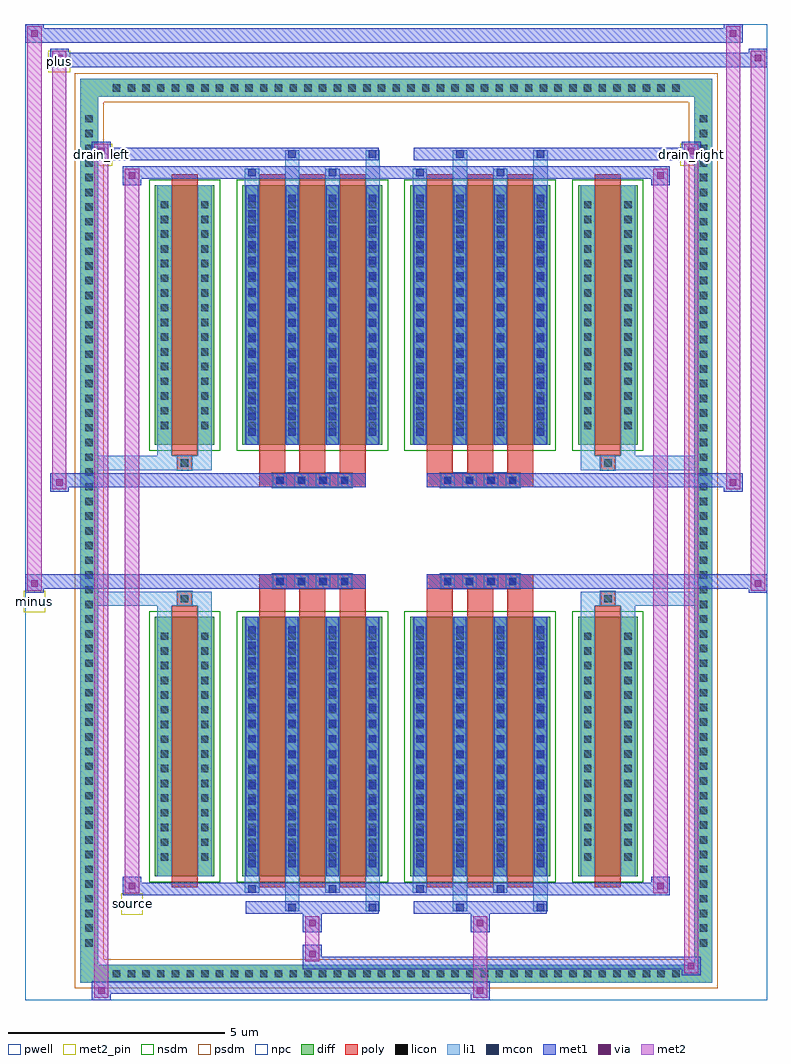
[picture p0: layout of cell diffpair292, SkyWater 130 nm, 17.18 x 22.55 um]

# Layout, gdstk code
import gdstk
lib = gdstk.Library(unit=1e-6, precision=5e-09)
def R(c, l, rs):  # rectangles x0, y0, x1, y1
    for r in rs: c.add(gdstk.rectangle(r[:2], r[2:], *l))
def A(c, l, x, y, w, h, nx, ny, dx, dy):  # array of equal rectangles
    R(c, l, [(x+i*dx, y+j*dy, x+i*dx+w, y+j*dy+h) for i in range(nx) for j in range(ny)])
def P(c, l, *ps):  # polygons
    for p in ps: c.add(gdstk.Polygon(p, *l))
pwell = (64, 44)
diff = (65, 20)
poly = (66, 20)
licon = (66, 44)
li1 = (67, 20)
mcon = (67, 44)
met1 = (68, 20)
via = (68, 44)
met2_pin = (69, 16)
met2 = (69, 20)
nsdm = (93, 44)
psdm = (94, 20)
npc = (95, 20)

diffpair292 = lib.new_cell('diffpair292')
R(diffpair292, pwell, [(-8.57,-10.84,8.57,11.71), (-5.89,-9.03,-0.01,-0.805), (0.01,-9.03,5.89,-0.805), (-5.89,0.805,-0.01,9.03), (0.01,0.805,5.89,9.03)])
A(diffpair292, diff, -6.665, -10.44, 0.41, 0.41, 39, 2, 0.34, 20.47)
A(diffpair292, diff, -7.3, -9.725, 0.41, 0.41, 1, 57, 0, 0.34)
A(diffpair292, diff, 6.89, -9.725, 0.41, 0.41, 1, 57, 0, 0.34)
R(diffpair292, diff, [(-6.665,-10.44,6.665,-10.03), (-7.3,-9.725,-6.89,9.725), (6.89,-9.725,7.3,9.725), (-5.58,-7.985,-4.2,-1.985), (-3.56,-7.985,-0.32,-1.985), (0.32,-7.985,3.56,-1.985), (4.2,-7.985,5.58,-1.985), (-5.58,1.985,-4.2,7.985), (-3.56,1.985,-0.32,7.985), (0.32,1.985,3.56,7.985), (4.2,1.985,5.58,7.985), (-6.665,10.03,6.665,10.44)])
P(diffpair292, diff, [(7.3,10.44),(-7.3,10.44),(-7.3,-10.03),(-6.89,-10.03),(-6.89,10.03),(6.89,10.03),(6.89,-10.03),(-6.89,-10.03),(-7.3,-10.03),(-7.3,-10.44),(7.3,-10.44)])
A(diffpair292, poly, -3.17, -8.235, 0.6, 6.5, 3, 2, 0.93, 9.97)
A(diffpair292, poly, 0.71, -8.235, 0.6, 6.5, 3, 2, 0.93, 9.97)
A(diffpair292, poly, -3.17, -1.735, 0.6, 0.4, 3, 2, 0.93, 3.07)
A(diffpair292, poly, 0.71, -1.735, 0.6, 0.4, 3, 2, 0.93, 3.07)
A(diffpair292, poly, -2.855, -1.335, 0.33, 0.33, 4, 2, 0.5, 2.34)
A(diffpair292, poly, 1.025, -1.335, 0.33, 0.33, 4, 2, 0.5, 2.34)
R(diffpair292, poly, [(-5.19,-8.235,-4.59,-1.735), (4.59,-8.235,5.19,-1.735), (-5.055,-1.735,-4.725,-1.405), (-5.055,-1.735,-4.725,-1.405), (4.725,-1.735,5.055,-1.405), (4.725,-1.735,5.055,-1.405), (-3.17,-1.335,-0.71,-1.005), (0.71,-1.335,3.17,-1.005), (-3.17,1.005,-0.71,1.335), (0.71,1.005,3.17,1.335), (-5.055,1.405,-4.725,1.735), (-5.055,1.405,-4.725,1.735), (4.725,1.405,5.055,1.735), (4.725,1.405,5.055,1.735), (-5.19,1.735,-4.59,8.235), (4.59,1.735,5.19,8.235)])
A(diffpair292, licon, -6.545, -10.32, 0.17, 0.17, 39, 2, 0.34, 20.47)
A(diffpair292, licon, -7.18, -9.605, 0.17, 0.17, 1, 57, 0, 0.34)
A(diffpair292, licon, 7.01, -9.605, 0.17, 0.17, 1, 57, 0, 0.34)
A(diffpair292, licon, -5.44, -7.62, 0.17, 0.17, 1, 16, 0, 0.34)
A(diffpair292, licon, -4.51, -7.62, 0.17, 0.17, 1, 16, 0, 0.34)
A(diffpair292, licon, -3.42, -7.62, 0.17, 0.17, 4, 16, 0.93, 0.34)
A(diffpair292, licon, 0.46, -7.62, 0.17, 0.17, 4, 16, 0.93, 0.34)
A(diffpair292, licon, 4.34, -7.62, 0.17, 0.17, 1, 16, 0, 0.34)
A(diffpair292, licon, 5.27, -7.62, 0.17, 0.17, 1, 16, 0, 0.34)
A(diffpair292, licon, -2.775, -1.255, 0.17, 0.17, 4, 2, 0.5, 2.34)
A(diffpair292, licon, 1.105, -1.255, 0.17, 0.17, 4, 2, 0.5, 2.34)
A(diffpair292, licon, -5.44, 2.35, 0.17, 0.17, 1, 16, 0, 0.34)
A(diffpair292, licon, -4.51, 2.35, 0.17, 0.17, 1, 16, 0, 0.34)
A(diffpair292, licon, -3.42, 2.35, 0.17, 0.17, 4, 16, 0.93, 0.34)
A(diffpair292, licon, 0.46, 2.35, 0.17, 0.17, 4, 16, 0.93, 0.34)
A(diffpair292, licon, 4.34, 2.35, 0.17, 0.17, 1, 16, 0, 0.34)
A(diffpair292, licon, 5.27, 2.35, 0.17, 0.17, 1, 16, 0, 0.34)
R(diffpair292, licon, [(-4.975,-1.655,-4.805,-1.485), (4.805,-1.655,4.975,-1.485), (-4.975,1.485,-4.805,1.655), (4.805,1.485,4.975,1.655)])
A(diffpair292, li1, -6.625, -10.4, 0.33, 0.33, 39, 2, 0.34, 20.47)
A(diffpair292, li1, -7.26, -9.685, 0.33, 0.33, 1, 57, 0, 0.34)
A(diffpair292, li1, 6.93, -9.685, 0.33, 0.33, 1, 57, 0, 0.34)
A(diffpair292, li1, -3.5, -7.985, 0.33, 6, 4, 2, 0.93, 9.97)
A(diffpair292, li1, 0.38, -7.985, 0.33, 6, 4, 2, 0.93, 9.97)
A(diffpair292, li1, -3.42, -7.77, 0.17, 0.17, 4, 16, 0.93, 0.36)
A(diffpair292, li1, -3.42, -7.77, 0.17, 5.57, 4, 2, 0.93, 9.97)
A(diffpair292, li1, 0.46, -7.77, 0.17, 0.17, 4, 16, 0.93, 0.36)
A(diffpair292, li1, 0.46, -7.77, 0.17, 5.57, 4, 2, 0.93, 9.97)
A(diffpair292, li1, -5.52, -7.7, 0.33, 0.33, 1, 16, 0, 0.34)
A(diffpair292, li1, -4.59, -7.7, 0.33, 0.33, 1, 16, 0, 0.34)
A(diffpair292, li1, -3.5, -7.7, 0.33, 0.33, 4, 16, 0.93, 0.34)
A(diffpair292, li1, 0.38, -7.7, 0.33, 0.33, 4, 16, 0.93, 0.34)
A(diffpair292, li1, 4.26, -7.7, 0.33, 0.33, 1, 16, 0, 0.34)
A(diffpair292, li1, 5.19, -7.7, 0.33, 0.33, 1, 16, 0, 0.34)
A(diffpair292, li1, -2.855, -1.335, 0.33, 0.33, 4, 2, 0.5, 2.34)
A(diffpair292, li1, 1.025, -1.335, 0.33, 0.33, 4, 2, 0.5, 2.34)
A(diffpair292, li1, -3.42, 2.2, 0.17, 0.17, 4, 16, 0.93, 0.36)
A(diffpair292, li1, 0.46, 2.2, 0.17, 0.17, 4, 16, 0.93, 0.36)
A(diffpair292, li1, -5.52, 2.27, 0.33, 0.33, 1, 16, 0, 0.34)
A(diffpair292, li1, -4.59, 2.27, 0.33, 0.33, 1, 16, 0, 0.34)
A(diffpair292, li1, -3.5, 2.27, 0.33, 0.33, 4, 16, 0.93, 0.34)
A(diffpair292, li1, 0.38, 2.27, 0.33, 0.33, 4, 16, 0.93, 0.34)
A(diffpair292, li1, 4.26, 2.27, 0.33, 0.33, 1, 16, 0, 0.34)
A(diffpair292, li1, 5.19, 2.27, 0.33, 0.33, 1, 16, 0, 0.34)
R(diffpair292, li1, [(-7.3,-10.44,-6.89,-10.03), (-7.3,-10.44,-6.89,-10.03), (-6.89,-10.44,6.89,-10.03), (6.89,-10.44,7.3,-10.03), (6.89,-10.44,7.3,-10.03), (-7.3,-10.03,-6.89,10.03), (6.89,-10.03,7.3,10.03), (-2.57,-8.79,-2.24,-7.985), (-2.49,-8.79,-2.32,-8.62), (-0.71,-8.79,-0.38,-7.985), (-0.63,-8.79,-0.46,-8.62), (1.31,-8.79,1.64,-7.985), (1.39,-8.79,1.56,-8.62), (3.17,-8.79,3.5,-7.985), (3.25,-8.79,3.42,-8.62), (-3.5,-8.36,-3.17,-7.985), (-3.42,-8.36,-3.25,-8.19), (-1.64,-8.36,-1.31,-7.985), (-1.56,-8.36,-1.39,-8.19), (0.38,-8.36,0.71,-7.985), (0.46,-8.36,0.63,-8.19), (2.24,-8.36,2.57,-7.985), (2.32,-8.36,2.49,-8.19), (-5.52,-7.985,-5.19,-1.985), (-4.59,-7.985,-4.26,-1.985), (4.26,-7.985,4.59,-1.985), (5.19,-7.985,5.52,-1.985), (-5.52,-1.985,-5.19,-1.405), (-4.59,-1.985,-4.26,-1.405), (4.26,-1.985,4.59,-1.405), (5.19,-1.985,5.52,-1.405), (-7.3,-1.735,-5.055,-1.405), (-5.52,-1.735,-5.055,-1.405), (-5.055,-1.735,-4.725,-1.405), (-4.725,-1.735,-4.26,-1.405), (4.26,-1.735,4.725,-1.405), (4.725,-1.735,5.055,-1.405), (4.725,-1.735,7.3,-1.405), (5.055,-1.735,5.52,-1.405), (-7.3,1.405,-5.055,1.735), (-5.52,1.405,-5.055,1.735), (-5.52,1.405,-5.19,1.985), (-5.055,1.405,-4.725,1.735), (-4.725,1.405,-4.26,1.735), (-4.59,1.405,-4.26,1.985), (4.26,1.405,4.725,1.735), (4.26,1.405,4.59,1.985), (4.725,1.405,5.055,1.735), (4.725,1.405,7.3,1.735), (5.055,1.405,5.52,1.735), (5.19,1.405,5.52,1.985), (-5.52,1.985,-5.19,7.985), (-4.59,1.985,-4.26,7.985), (4.26,1.985,4.59,7.985), (5.19,1.985,5.52,7.985), (-3.5,7.985,-3.17,8.36), (-2.57,7.985,-2.24,8.79), (-1.64,7.985,-1.31,8.36), (-0.71,7.985,-0.38,8.79), (0.38,7.985,0.71,8.36), (1.31,7.985,1.64,8.79), (2.24,7.985,2.57,8.36), (3.17,7.985,3.5,8.79), (-3.42,8.19,-3.25,8.36), (-1.56,8.19,-1.39,8.36), (0.46,8.19,0.63,8.36), (2.32,8.19,2.49,8.36), (-2.49,8.62,-2.32,8.79), (-0.63,8.62,-0.46,8.79), (1.39,8.62,1.56,8.79), (3.25,8.62,3.42,8.79), (-7.3,10.03,-6.89,10.44), (-7.3,10.03,-6.89,10.44), (-6.89,10.03,6.89,10.44), (6.89,10.03,7.3,10.44), (6.89,10.03,7.3,10.44)])
A(diffpair292, mcon, -3.42, -7.77, 0.17, 0.17, 4, 16, 0.93, 0.36)
A(diffpair292, mcon, 0.46, -7.77, 0.17, 0.17, 4, 16, 0.93, 0.36)
A(diffpair292, mcon, -2.775, -1.255, 0.17, 0.17, 4, 2, 0.5, 2.34)
A(diffpair292, mcon, 1.105, -1.255, 0.17, 0.17, 4, 2, 0.5, 2.34)
A(diffpair292, mcon, -3.42, 2.2, 0.17, 0.17, 4, 16, 0.93, 0.36)
A(diffpair292, mcon, 0.46, 2.2, 0.17, 0.17, 4, 16, 0.93, 0.36)
R(diffpair292, mcon, [(-2.49,-8.79,-2.32,-8.62), (-0.63,-8.79,-0.46,-8.62), (1.39,-8.79,1.56,-8.62), (3.25,-8.79,3.42,-8.62), (-3.42,-8.36,-3.25,-8.19), (-1.56,-8.36,-1.39,-8.19), (0.46,-8.36,0.63,-8.19), (2.32,-8.36,2.49,-8.19), (-3.42,8.19,-3.25,8.36), (-1.56,8.19,-1.39,8.36), (0.46,8.19,0.63,8.36), (2.32,8.19,2.49,8.36), (-2.49,8.62,-2.32,8.79), (-0.63,8.62,-0.46,8.79), (1.39,8.62,1.56,8.79), (3.25,8.62,3.42,8.79)])
A(diffpair292, met1, -3.48, -7.985, 0.29, 6, 4, 2, 0.93, 9.97)
A(diffpair292, met1, 0.4, -7.985, 0.29, 6, 4, 2, 0.93, 9.97)
A(diffpair292, met1, -3.48, -7.83, 0.29, 0.29, 4, 16, 0.93, 0.36)
A(diffpair292, met1, 0.4, -7.83, 0.29, 0.29, 4, 16, 0.93, 0.36)
A(diffpair292, met1, -2.835, -1.315, 0.29, 0.29, 4, 2, 0.5, 2.34)
A(diffpair292, met1, 1.045, -1.315, 0.29, 0.29, 4, 2, 0.5, 2.34)
A(diffpair292, met1, -3.48, 2.14, 0.29, 0.29, 4, 16, 0.93, 0.36)
A(diffpair292, met1, 0.4, 2.14, 0.29, 0.29, 4, 16, 0.93, 0.36)
R(diffpair292, met1, [(-7.03,-10.84,-6.6,-10.41), (1.725,-10.84,2.155,-10.41), (-7.03,-10.7,2.155,-10.41), (6.6,-10.27,7.03,-9.84), (-2.155,-10.13,7.03,-9.84), (-2.155,-9.99,-1.725,-9.56), (-2.155,-9.28,-1.725,-8.85), (1.725,-9.28,2.155,-8.85), (-3.48,-8.85,-0.4,-8.56), (-2.55,-8.85,-2.26,-8.56), (-0.69,-8.85,-0.4,-8.56), (0.4,-8.85,3.48,-8.56), (1.33,-8.85,1.62,-8.56), (3.19,-8.85,3.48,-8.56), (-6.32,-8.42,-5.89,-7.99), (-6.32,-8.42,-3.48,-8.13), (-3.48,-8.42,-3.19,-8.13), (-3.48,-8.42,-0.4,-8.13), (-1.62,-8.42,-1.33,-8.13), (-0.4,-8.42,0.4,-8.13), (0.4,-8.42,0.69,-8.13), (0.4,-8.42,3.48,-8.13), (2.26,-8.42,2.55,-8.13), (3.48,-8.42,6.32,-8.13), (5.89,-8.42,6.32,-7.99), (-8.57,-1.435,-8.14,-1.005), (8.14,-1.435,8.57,-1.005), (-8.57,-1.335,-0.71,-1.005), (-3.17,-1.335,-0.71,-1.005), (0.71,-1.335,3.17,-1.005), (0.71,-1.335,8.57,-1.005), (-8,0.905,-7.57,1.335), (7.57,0.905,8,1.335), (-8,1.005,-3.17,1.335), (-3.17,1.005,-0.71,1.335), (0.71,1.005,3.17,1.335), (3.17,1.005,8,1.335), (-6.32,7.99,-5.89,8.42), (5.89,7.99,6.32,8.42), (-6.32,8.13,-3.48,8.42), (-3.48,8.13,-3.19,8.42), (-3.48,8.13,-0.4,8.42), (-1.62,8.13,-1.33,8.42), (-0.4,8.13,0.4,8.42), (0.4,8.13,0.69,8.42), (0.4,8.13,3.48,8.42), (2.26,8.13,2.55,8.42), (3.48,8.13,6.32,8.42), (-7.03,8.56,-6.6,8.99), (-7.03,8.56,-3.48,8.85), (-3.48,8.56,-0.4,8.85), (-2.55,8.56,-2.26,8.85), (-0.69,8.56,-0.4,8.85), (0.4,8.56,3.48,8.85), (1.33,8.56,1.62,8.85), (3.19,8.56,3.48,8.85), (3.48,8.56,7.03,8.85), (6.6,8.56,7.03,8.99), (-8,10.71,-7.57,11.14), (-8,10.71,-5.89,11.04), (-5.89,10.71,5.89,11.04), (5.89,10.71,8.57,11.04), (8.14,10.71,8.57,11.14), (-8.57,11.28,-8.14,11.71), (-8.57,11.28,-5.89,11.61), (-5.89,11.28,5.89,11.61), (5.89,11.28,8,11.61), (7.57,11.28,8,11.71)])
R(diffpair292, via, [(-6.89,-10.7,-6.74,-10.55), (1.865,-10.7,2.015,-10.55), (6.74,-10.13,6.89,-9.98), (-2.015,-9.85,-1.865,-9.7), (-2.015,-9.14,-1.865,-8.99), (1.865,-9.14,2.015,-8.99), (-6.18,-8.28,-6.03,-8.13), (6.03,-8.28,6.18,-8.13), (-8.43,-1.295,-8.28,-1.145), (8.28,-1.295,8.43,-1.145), (-7.86,1.045,-7.71,1.195), (7.71,1.045,7.86,1.195), (-6.18,8.13,-6.03,8.28), (6.03,8.13,6.18,8.28), (-6.89,8.7,-6.74,8.85), (6.74,8.7,6.89,8.85), (-7.86,10.85,-7.71,11), (8.28,10.85,8.43,11), (-8.43,11.42,-8.28,11.57), (7.71,11.42,7.86,11.57)])
R(diffpair292, met2_pin, [(-6.355,-8.87,-5.855,-8.37), (-8.605,-1.885,-8.105,-1.385), (-7.065,8.44,-6.565,8.94), (6.565,8.44,7.065,8.94), (-8.035,10.59,-7.535,11.09)])
R(diffpair292, met2, [(-6.98,-10.79,-6.65,-10.46), (-6.98,-10.79,-6.65,8.94), (1.775,-10.79,2.105,-10.46), (1.775,-10.46,2.105,-9.23), (6.65,-10.22,6.98,-9.89), (6.65,-10.22,6.98,8.94), (-2.105,-9.94,-1.775,-9.61), (-2.105,-9.61,-1.775,-9.23), (-2.105,-9.23,-1.775,-8.9), (1.775,-9.23,2.105,-8.9), (-6.27,-8.37,-5.94,-8.04), (-6.27,-8.37,-5.94,8.37), (5.94,-8.37,6.27,-8.04), (5.94,-8.37,6.27,8.37), (-8.52,-1.385,-8.19,-1.055), (-8.52,-1.385,-8.19,11.66), (8.19,-1.385,8.52,-1.055), (8.19,-1.385,8.52,11.09), (-7.95,0.955,-7.62,1.285), (-7.95,0.955,-7.62,11.09), (7.62,0.955,7.95,1.285), (7.62,0.955,7.95,11.66), (-6.27,8.04,-5.94,8.37), (5.94,8.04,6.27,8.37), (-6.98,8.61,-6.65,8.94), (6.65,8.61,6.98,8.94), (-7.95,10.76,-7.62,11.09), (8.19,10.76,8.52,11.09), (-8.52,11.33,-8.19,11.66), (7.62,11.33,7.95,11.66)])
P(diffpair292, met2, [(8.52,-1.385),(8.52,-1.385),(8.52,-1.055),(8.52,-1.055)],
  [(8.52,10.76),(8.52,10.76),(8.52,11.09),(8.52,11.09)],
  [(-8.19,-1.385),(-8.19,-1.385),(-8.19,-1.055),(-8.19,-1.055)],
  [(-8.19,11.33),(-8.19,11.33),(-8.19,11.66),(-8.19,11.66)],
  [(7.95,0.955),(7.95,0.955),(7.95,1.285),(7.95,1.285)],
  [(7.95,11.33),(7.95,11.33),(7.95,11.66),(7.95,11.66)],
  [(-7.62,0.955),(-7.62,0.955),(-7.62,1.285),(-7.62,1.285)],
  [(-7.62,10.76),(-7.62,10.76),(-7.62,11.09),(-7.62,11.09)],
  [(-6.65,-10.79),(-6.65,-10.79),(-6.65,-10.46),(-6.65,-10.46)],
  [(-6.65,8.61),(-6.65,8.61),(-6.65,8.94),(-6.65,8.94)],
  [(6.98,-10.22),(6.98,-10.22),(6.98,-9.89),(6.98,-9.89)],
  [(6.98,8.61),(6.98,8.61),(6.98,8.94),(6.98,8.94)],
  [(-5.94,-8.37),(-5.94,-8.37),(-5.94,-8.04),(-5.94,-8.04)],
  [(-5.94,8.04),(-5.94,8.04),(-5.94,8.37),(-5.94,8.37)],
  [(6.27,-8.37),(6.27,-8.37),(6.27,-8.04),(6.27,-8.04)],
  [(6.27,8.04),(6.27,8.04),(6.27,8.37),(6.27,8.37)])
R(diffpair292, nsdm, [(-5.71,-8.115,-4.07,-1.855), (-3.69,-8.115,-0.19,-1.855), (0.19,-8.115,3.69,-1.855), (4.07,-8.115,5.71,-1.855), (-5.71,1.855,-4.07,8.115), (-3.69,1.855,-0.19,8.115), (0.19,1.855,3.69,8.115), (4.07,1.855,5.71,8.115)])
P(diffpair292, psdm, [(7.43,10.57),(-7.43,10.57),(-7.43,-9.9),(-6.76,-9.9),(-6.76,9.9),(6.76,9.9),(6.76,-9.9),(-6.76,-9.9),(-7.43,-9.9),(-7.43,-10.57),(7.43,-10.57)])
A(diffpair292, npc, -2.875, -1.355, 0.37, 0.37, 4, 2, 0.5, 2.34)
A(diffpair292, npc, 1.005, -1.355, 0.37, 0.37, 4, 2, 0.5, 2.34)
R(diffpair292, npc, [(-5.075,-1.755,-4.705,-1.385), (4.705,-1.755,5.075,-1.385), (-2.875,-1.355,-2.005,-0.985), (-2.875,-1.355,-2.005,-0.985), (-2.375,-1.355,-1.505,-0.985), (-2.375,-1.355,-1.505,-0.985), (-1.875,-1.355,-1.005,-0.985), (-1.875,-1.355,-1.005,-0.985), (1.005,-1.355,1.875,-0.985), (1.005,-1.355,1.875,-0.985), (1.505,-1.355,2.375,-0.985), (1.505,-1.355,2.375,-0.985), (2.005,-1.355,2.875,-0.985), (2.005,-1.355,2.875,-0.985), (-2.875,0.985,-2.005,1.355), (-2.875,0.985,-2.005,1.355), (-2.375,0.985,-1.505,1.355), (-2.375,0.985,-1.505,1.355), (-1.875,0.985,-1.005,1.355), (-1.875,0.985,-1.005,1.355), (1.005,0.985,1.875,1.355), (1.005,0.985,1.875,1.355), (1.505,0.985,2.375,1.355), (1.505,0.985,2.375,1.355), (2.005,0.985,2.875,1.355), (2.005,0.985,2.875,1.355), (-5.075,1.385,-4.705,1.755), (4.705,1.385,5.075,1.755)])
diffpair292.add(gdstk.Label('minus', (-8.355,-1.635), layer=69, texttype=5))
diffpair292.add(gdstk.Label('drain_right', (6.815,8.69), layer=69, texttype=5))
diffpair292.add(gdstk.Label('drain_left', (-6.815,8.69), layer=69, texttype=5))
diffpair292.add(gdstk.Label('source', (-6.105,-8.62), layer=69, texttype=5))
diffpair292.add(gdstk.Label('plus', (-7.785,10.84), layer=69, texttype=5))

lib.write_gds('diffpair292.gds')
